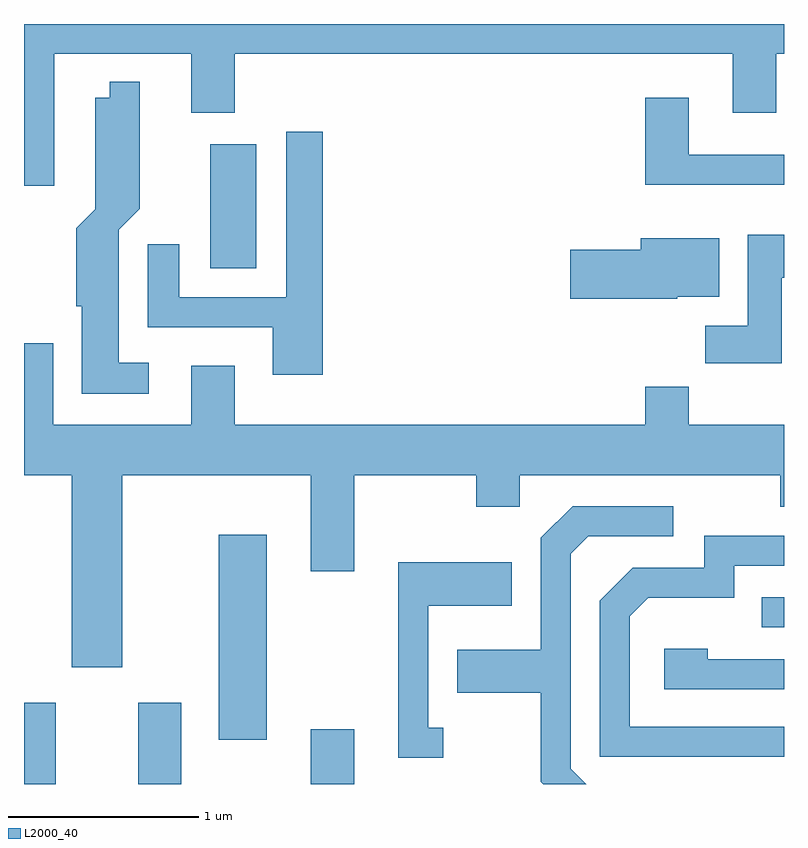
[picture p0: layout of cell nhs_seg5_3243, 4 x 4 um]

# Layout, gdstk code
import gdstk
lib = gdstk.Library(unit=1e-6, precision=1e-09)
def R(c, l, rs):  # rectangles x0, y0, x1, y1
    for r in rs: c.add(gdstk.rectangle(r[:2], r[2:], *l))
def P(c, l, *ps):  # polygons
    for p in ps: c.add(gdstk.Polygon(p, *l))
L2000_40 = (2000, 40)

nhs_seg5_3243 = lib.new_cell('nhs_seg5_3243')
R(nhs_seg5_3243, L2000_40, [(281.611,1444.072,281.779,1444.499), (282.211,1444.072,282.439,1444.499), (283.121,1444.072,283.349,1444.359), (282.636,1444.306,282.889,1445.384), (285.493,1444.896,285.611,1445.054), (282.591,1446.786,282.834,1447.439)])
P(nhs_seg5_3243, L2000_40, [(281.769,1447.916),(282.491,1447.916),(282.491,1447.606),(282.719,1447.606),(282.719,1447.916),(285.341,1447.916),(285.341,1447.606),(285.569,1447.606),(285.569,1447.916),(285.611,1447.916),(285.611,1448.072),(281.611,1448.072),(281.611,1447.221),(281.769,1447.221)],
  [(282.268,1446.289),(282.109,1446.289),(282.109,1446.989),(282.219,1447.099),(282.219,1447.768),(282.061,1447.768),(282.061,1447.684),(281.986,1447.684),(281.986,1447.097),(281.886,1446.997),(281.886,1446.586),(281.916,1446.586),(281.916,1446.126),(282.268,1446.126)],
  [(285.611,1447.384),(285.109,1447.384),(285.109,1447.684),(284.881,1447.684),(284.881,1447.226),(285.611,1447.226)],
  [(283.184,1447.504),(282.991,1447.504),(282.991,1446.634),(282.429,1446.634),(282.429,1446.913),(282.261,1446.913),(282.261,1446.476),(282.921,1446.476),(282.921,1446.226),(283.184,1446.226)],
  [(285.599,1446.736),(285.611,1446.736),(285.611,1446.964),(285.421,1446.964),(285.421,1446.484),(285.196,1446.484),(285.196,1446.286),(285.599,1446.286)],
  [(285.05,1446.636),(285.269,1446.636),(285.269,1446.944),(284.856,1446.944),(284.856,1446.884),(284.486,1446.884),(284.486,1446.626),(285.05,1446.626)],
  [(282.129,1445.696),(283.121,1445.696),(283.121,1445.191),(283.349,1445.191),(283.349,1445.696),(283.991,1445.696),(283.991,1445.531),(284.219,1445.531),(284.219,1445.696),(285.591,1445.696),(285.591,1445.531),(285.611,1445.531),(285.611,1445.964),(285.109,1445.964),(285.109,1446.164),(284.881,1446.164),(284.881,1445.964),(282.719,1445.964),(282.719,1446.274),(282.491,1446.274),(282.491,1445.964),(281.764,1445.964),(281.764,1446.393),(281.611,1446.393),(281.611,1445.696),(281.861,1445.696),(281.861,1444.686),(282.129,1444.686)],
  [(284.489,1444.152),(284.489,1445.284),(284.582,1445.376),(285.028,1445.376),(285.028,1445.534),(284.499,1445.534),(284.331,1445.367),(284.331,1444.779),(283.891,1444.779),(283.891,1444.551),(284.331,1444.551),(284.331,1444.084),(284.343,1444.072),(284.569,1444.072)],
  [(285.611,1444.374),(284.799,1444.374),(284.799,1444.954),(284.897,1445.051),(285.349,1445.051),(285.349,1445.221),(285.611,1445.221),(285.611,1445.379),(285.191,1445.379),(285.191,1445.209),(284.814,1445.209),(284.641,1445.037),(284.641,1444.216),(285.611,1444.216)],
  [(283.818,1444.369),(283.739,1444.369),(283.739,1445.011),(284.179,1445.011),(284.179,1445.239),(283.581,1445.239),(283.581,1444.211),(283.818,1444.211)],
  [(285.611,1444.729),(285.209,1444.729),(285.209,1444.784),(284.981,1444.784),(284.981,1444.571),(285.611,1444.571)])

lib.write_gds('nhs_seg5_3243.gds')
